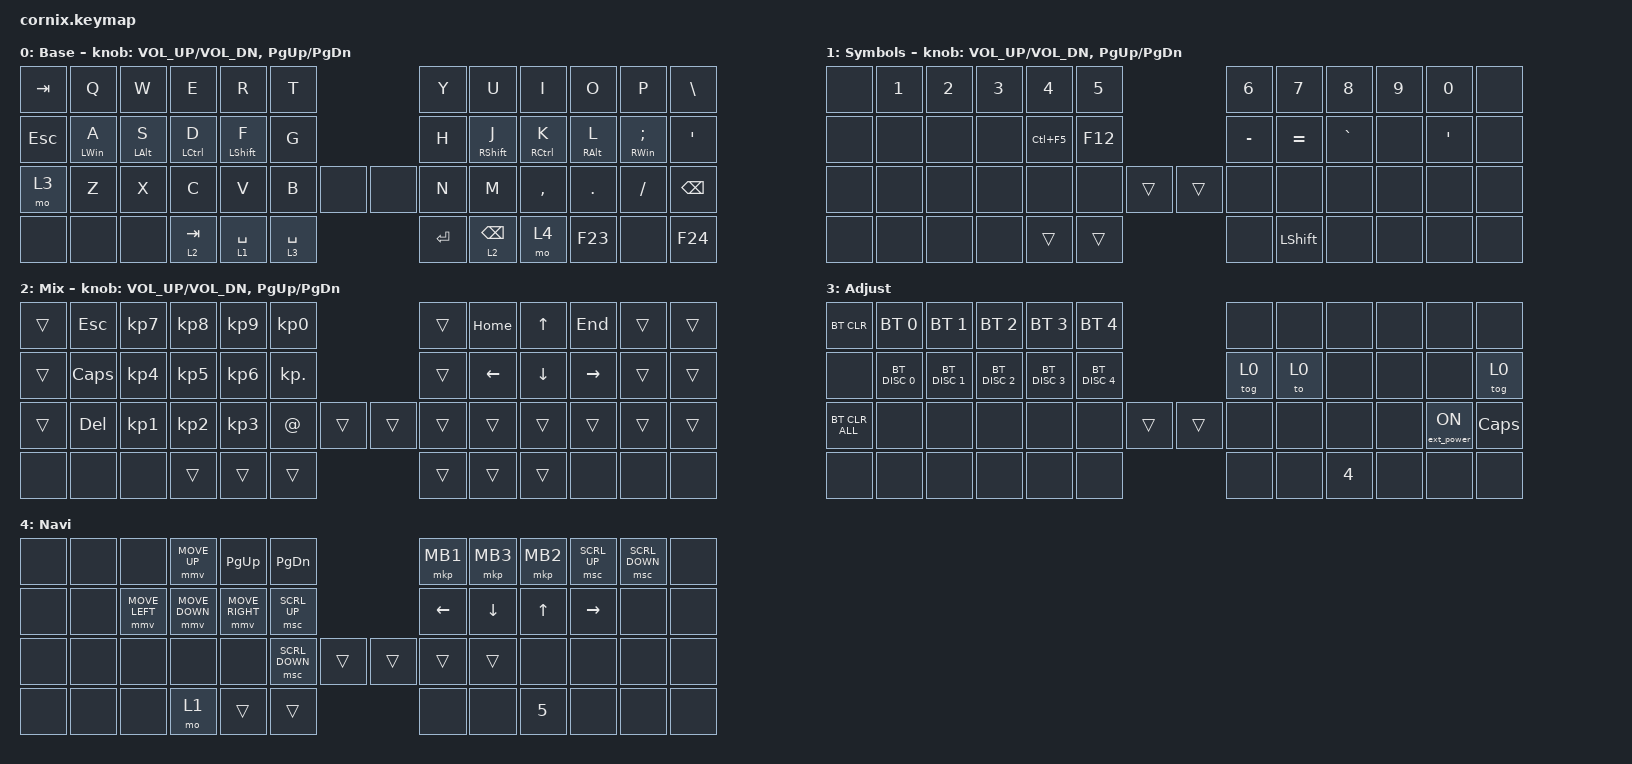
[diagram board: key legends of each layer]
/*
 * Copyright (c) 2020 The ZMK Contributors
 *
 * SPDX-License-Identifier: MIT
 */

#include "zmk-helpers/helper.h"
#include "includes/cornix54.h"

// tap windows for ctl alt and gui

#define HM_TAPPING_TERM 250
#define HM_TAPPING_REPEAT 210

// quick tapping for shift

#define HM_TAPPING_TERM_FAST 200
#define HM_PRIOR_IDLE 70
#define BASE 0
#define WIN 1
#define LOWER 2
#define RAISE 3
#define ADJUST 4
#define NAVI   5
#define NUM    6
#define DEBUG  7

// https://github.com/urob/zmk-config/tree/main#timeless-homerow-mods

#define KEYS_L LT0 LT1 LT2 LT3 LT4 LT5 LM0 LM1 LM2 LM3 LM4 LM5 LB0 LB1 LB2 LB3 LB4 LB5  // left hand
#define KEYS_R RT0 RT1 RT2 RT3 RT4 RT5 RM0 RM1 RM2 RM3 RM4 RM5 RB0 RB1 RB2 RB3 RB4 RB5  // right hand
#define THUMBS LH1 LH0 RH0 RH1
#define KEYS_T LH1 LH0 RH0 RH1
#define ZMK_POINTING_DEFAULT_SCRL_VAL 15

#include <behaviors.dtsi>
#include <dt-bindings/zmk/bt.h>
#include <dt-bindings/zmk/ext_power.h>
#include <dt-bindings/zmk/keys.h>
#include <dt-bindings/zmk/pointing.h>

/ {
    // Activate ADJUST layer by pressing raise and lower

    behaviors {
        hm_l: homerow_mods_left {
            compatible = "zmk,behavior-hold-tap";
            #binding-cells = <2>;
            bindings = <&kp>, <&kp>;

            flavor = "balanced";
            tapping-term-ms = <HM_TAPPING_TERM>;
            quick-tap-ms = <200>;                // repeat on tap-into-hold
            require-prior-idle-ms = <HM_PRIOR_IDLE>;
            hold-trigger-key-positions = <KEYS_R KEYS_T>;
            hold-trigger-on-release;
        };

        hm_r: homerow_mods_right {
            compatible = "zmk,behavior-hold-tap";
            #binding-cells = <2>;
            bindings = <&kp>, <&kp>;

            flavor = "balanced";
            tapping-term-ms = <HM_TAPPING_TERM>;
            quick-tap-ms = <200>;
            require-prior-idle-ms = <HM_PRIOR_IDLE>;
            hold-trigger-key-positions = <KEYS_L KEYS_T>;
            hold-trigger-on-release;
        };

        // Positional Homerow mods for shift
        // Use faster tapping term and disable some features that may
        // cause false negatives.

        hm_shift_l: hm_shift_l {
            compatible = "zmk,behavior-hold-tap";
            #binding-cells = <2>;
            bindings = <&kp>, <&kp>;

            //flavor = "balanced";

            flavor = "balanced";
            tapping-term-ms = <HM_TAPPING_TERM_FAST>;
            quick-tap-ms = <200>;
            require-prior-idle-ms = <HM_PRIOR_IDLE>;
            hold-trigger-key-positions = <KEYS_R KEYS_T>;
            hold-trigger-on-release;
        };

        hm_shift_r: hm_shift_r {
            compatible = "zmk,behavior-hold-tap";
            #binding-cells = <2>;
            bindings = <&kp>, <&kp>;

            flavor = "balanced";
            tapping-term-ms = <HM_TAPPING_TERM_FAST>;
            quick-tap-ms = <200>;
            require-prior-idle-ms = <HM_PRIOR_IDLE>;
            hold-trigger-key-positions = <KEYS_L KEYS_T>;

            // for quick tapping; shift+~

            hold-trigger-on-release;
        };

        /*
         * Non-Positional Homerow Mods
         * Used for &mm_grescm_gui behavior on left hand.
         *
         * Usage: &hm LSHFT T
         * Tap: T
         * Tap-Tap-Hold: Repeat T
         * Hold: LSHIFT
         */

        hm: homerow_mods {
            compatible = "zmk,behavior-hold-tap";
            #binding-cells = <2>;
            bindings = <&kp>, <&kp>;

            flavor = "balanced";
            tapping-term-ms = <HM_TAPPING_TERM>;
            quick-tap-ms = <200>;
        };

        lt: layer_tap {
            compatible = "zmk,behavior-hold-tap";
            #binding-cells = <2>;
            bindings = <&mo>, <&kp>;

            flavor = "hold-preferred";
            tapping-term-ms = <HM_TAPPING_TERM>;
            quick-tap-ms = <200>;
        };
    };

    conditional_layers {
        compatible = "zmk,conditional-layers";

        adjust_layer {
            if-layers = <2 1>;
            then-layer = <3>;
        };
    };

    combos {
        compatible = "zmk,combos";

        combo1 {
            bindings = <&kp LEFT_BRACKET>;
            key-positions = <3 4>;
        };

        combo2 {
            bindings = <&kp RIGHT_BRACKET>;
            key-positions = <7 8>;
        };

        combo3 {
            bindings = <&kp LEFT_PARENTHESIS>;
            key-positions = <15 16>;
        };

        combo4 {
            bindings = <&kp RIGHT_PARENTHESIS>;
            key-positions = <20 19>;
        };

        combo5 {
            bindings = <&kp LEFT_BRACE>;
            key-positions = <27 28>;
        };

        combo6 {
            bindings = <&kp RIGHT_BRACE>;
            key-positions = <33 34>;
        };

        combo7 {
            bindings = <&kp BACKSLASH>;
            key-positions = <5 6>;
        };

        combo8 {
            bindings = <&kp PIPE>;
            key-positions = <17 18>;
        };

        combo9 {
            bindings = <&kp ENTER>;
            key-positions = <21 22>;
        };
    };

    keymap {
        compatible = "zmk,keymap";

        default_layer {
            display-name = "Base";

            // ------------------------------------------------------------------------------------------------------------
            // |   `   |  1  |  2  |  3   |  4   |  5   |                   |  6   |  7    |  8    |  9   |   0   |       |
            // |  ESC  |  Q  |  W  |  E   |  R   |  T   |                   |  Y   |  U    |  I    |  O   |   P   | BKSPC |
            // |  TAB  |  A  |  S  |  D   |  F   |  G   |                   |  H   |  J    |  K    |  L   |   ;   |   '   |
            // | SHIFT |  Z  |  X  |  C   |  V   |  B   |  MUTE  |  |       |  N   |  M    |  ,    |  .   |   /   | SHIFT |
            //               | GUI | ALT  | CTRL | LOWER|  ENTER |  | SPACE | RAISE| CTRL  | ALT   | GUI  |

            bindings = <
&kp TAB  &kp Q             &kp W         &kp E          &kp R                &kp T                      &kp Y      &kp U                &kp I          &kp O         &kp P            &kp BSLH
&kp ESC  &hm_l LEFT_WIN A  &hm_l LALT S  &hm_l LCTRL D  &hm_shift_l LSHFT F  &kp G                      &kp H      &hm_shift_r RSHFT J  &hm_r RCTRL K  &hm_r RALT L  &hm_r RWIN SEMI  &kp SQT
&mo 3    &kp Z             &kp X         &kp C          &kp V                &kp B        &none  &none  &kp N      &kp M                &kp COMMA      &kp DOT       &kp FSLH         &kp BACKSPACE
&none    &none             &none         &lt 2 TAB      &lt 1 SPACE          &lt 3 SPACE                &kp ENTER  &lt 2 BACKSPACE      &mo 4          &kp F23       &none            &kp F24
            >;

            sensor-bindings = <&inc_dec_kp C_VOL_UP C_VOL_DN &inc_dec_kp PG_UP PG_DN>;
        };

        Symbol_layer {
            display-name = "Symbols";

            // TODO: Some binds are waiting for shifted keycode support.
            // -------------------------------
            // |       |  F1 |  F2 |  F3  |  F4  |  F5  |                   |  F6  |  F7   |  F8   |  F9  |  F10  |  F11  |
            // |   `   |  1  |  2  |  3   |  4   |  5   |                   |  6   |  7    |  8    |  9   |   0   |  F12  |
            // |       |  !  |  @  |  #   |  $   |  %   |                   |  ^   |  &    |  *    |  (   |   )   |   |   |
            // |       |  =  |  -  |  +   |  {   |  }   |        |  |       |  [   |  ]    |  ;    |  :   |   \   |       |
            //               |     |      |      |      |        |  |       |      |       |       |      |

            bindings = <
&none  &kp NUMBER_1  &kp NUMBER_2  &kp NUMBER_3  &kp NUMBER_4  &kp N5                   &kp NUMBER_6  &kp NUMBER_7    &kp NUMBER_8  &kp NUMBER_9  &kp NUMBER_0  &none
&none  &none         &none         &none         &kp LC(F5)    &kp F12                  &kp MINUS     &kp EQUAL       &kp GRAVE     &none         &kp SQT       &none
&none  &none         &none         &none         &none         &none    &trans  &trans  &none         &none           &none         &none         &none         &none
&none  &none         &none         &none         &trans        &trans                   &none         &kp LEFT_SHIFT  &none         &none         &none         &none
            >;

            sensor-bindings = <&inc_dec_kp C_VOL_UP C_VOL_DN &inc_dec_kp PG_UP PG_DN>;
        };

        Mix_layer {
            display-name = "Mix";

            // ------------------------------------------------------------------------------------------------------------
            // | BTCLR | BT1  | BT2  |  BT3  |  BT4  |  BT5 |                |      |      |       |      |       |       |
            // |       | INS  | PSCR | GUI   |       |      |                | PGUP |      |   ^   |      |       |       |
            // |       | ALT  | CTRL | SHIFT |       | CAPS |                | PGDN |   <- |   v   |  ->  |  DEL  | BKSPC |
            // |       | UNDO | CUT  | COPY  | PASTE |      |      |  |      |      |      |       |      |       |       |
            //                |      |       |       |      |      |  |      |      |      |       |      |

            bindings = <
&trans  &kp ESC     &kp KP_NUMBER_7  &kp KP_NUMBER_8  &kp KP_NUMBER_9  &kp KP_NUMBER_0                  &trans  &kp HOME  &kp UP_ARROW    &kp END    &trans  &trans
&trans  &kp CAPS    &kp KP_NUMBER_4  &kp KP_NUMBER_5  &kp KP_NUMBER_6  &kp KP_DOT                       &trans  &kp LEFT  &kp DOWN_ARROW  &kp RIGHT  &trans  &trans
&trans  &kp DELETE  &kp KP_NUMBER_1  &kp KP_NUMBER_2  &kp KP_NUMBER_3  &kp AT_SIGN      &trans  &trans  &trans  &trans    &trans          &trans     &trans  &trans
&none   &none       &none            &trans           &trans           &trans                           &trans  &trans    &trans          &none      &none   &none
            >;

            sensor-bindings = <&inc_dec_kp C_VOL_UP C_VOL_DN &inc_dec_kp PG_UP PG_DN>;
        };

        Adjust_layer {
            display-name = "Adjust";

            // ----------------------------------------------------------------------------------------------------------------------------
            // | BTCLR  |  BT1    |  BT2    |   BT3   |   BT4   |   BT5   |                  |      |      |       |      |       |       |
            // | moDEBUG| RGB_HUD | RGB_HUI | RGB_SAD | RGB_SAI | RGB_EFF |                  |      |      |       |      |       |       |
            // | EXTPWR | RGB_BRD | RGB_BRI |         |         |         |                  |      |      |       |      |       |       |
            // |        |         |         |         |         |         | RGB_TOG | |      |      |      |       |      |       |       |
            //                    |         |         |         |         |         | |      |      |      |       |      |

            bindings = <
&bt BT_CLR      &bt BT_SEL 0   &bt BT_SEL 1   &bt BT_SEL 2   &bt BT_SEL 3   &bt BT_SEL 4                   &none   &none  &none   &none  &none             &none
&none           &bt BT_DISC 0  &bt BT_DISC 1  &bt BT_DISC 2  &bt BT_DISC 3  &bt BT_DISC 4                  &tog 0  &to 0  &none   &none  &none             &tog 0
&bt BT_CLR_ALL  &none          &none          &none          &none          &none          &trans  &trans  &none   &none  &none   &none  &ext_power EP_ON  &kp CAPSLOCK
&none           &none          &none          &none          &none          &none                          &none   &none  &kp N4  &none  &none             &none
            >;
        };

        Navi_layer {
            display-name = "Navi";
            bindings = <
&none  &none  &none           &mmv MOVE_UP    &kp PAGE_UP      &kp PAGE_DOWN                   &mkp MB1  &mkp MB3  &mkp MB2  &msc SCRL_UP  &msc SCRL_DOWN  &none
&none  &none  &mmv MOVE_LEFT  &mmv MOVE_DOWN  &mmv MOVE_RIGHT  &msc SCRL_UP                    &kp LEFT  &kp DOWN  &kp UP    &kp RIGHT     &none           &none
&none  &none  &none           &none           &none            &msc SCRL_DOWN  &trans  &trans  &trans    &trans    &none     &none         &none           &none
&none  &none  &none           &mo 1           &trans           &trans                          &none     &none     &kp N5    &none         &none           &none
            >;
        };
    };
};
